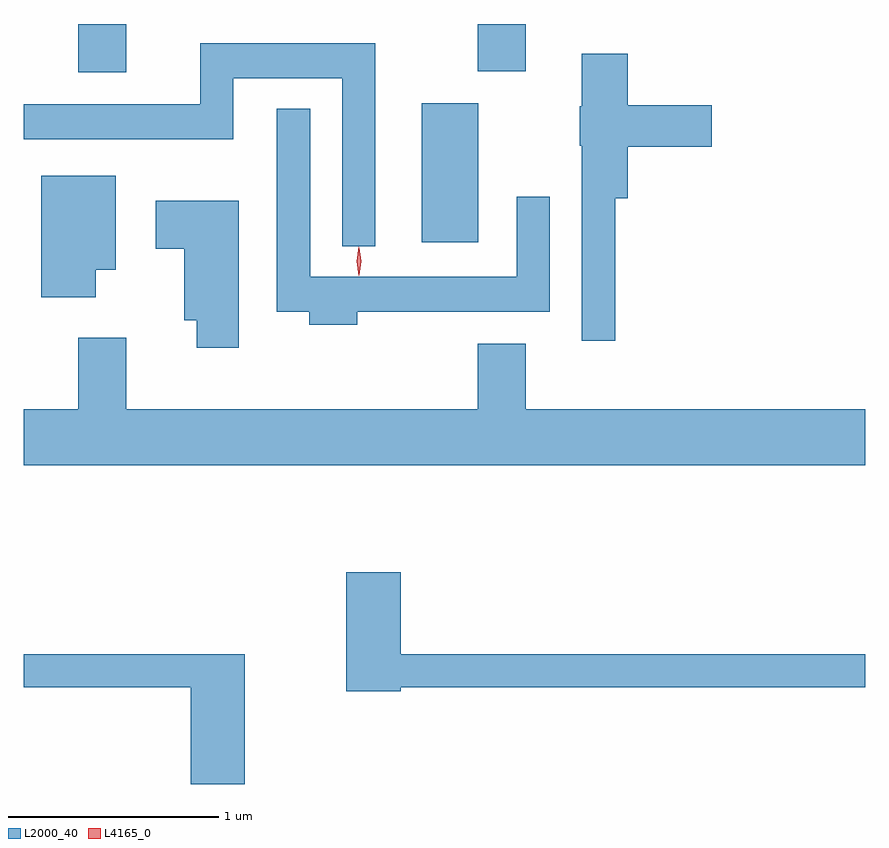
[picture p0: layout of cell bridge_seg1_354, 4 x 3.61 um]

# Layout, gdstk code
import gdstk
lib = gdstk.Library(unit=1e-6, precision=1e-09)
def R(c, l, rs):  # rectangles x0, y0, x1, y1
    for r in rs: c.add(gdstk.rectangle(r[:2], r[2:], *l))
def P(c, l, *ps):  # polygons
    for p in ps: c.add(gdstk.Polygon(p, *l))
L2000_40 = (2000, 40)
L4165_0 = (4165, 0)

bridge_seg1_354 = lib.new_cell('bridge_seg1_354')
R(bridge_seg1_354, L2000_40, [(937.866,873.996,938.134,874.659), (936.231,874.806,936.459,875.035), (938.131,874.811,938.359,875.035)])
P(bridge_seg1_354, L2000_40, [(937.644,874.944),(936.811,874.944),(936.811,874.654),(935.973,874.654),(935.973,874.486),(936.969,874.486),(936.969,874.776),(937.486,874.776),(937.486,873.978),(937.644,873.978)],
  [(938.784,874.206),(938.844,874.206),(938.844,874.451),(939.244,874.451),(939.244,874.649),(938.844,874.649),(938.844,874.894),(938.626,874.894),(938.626,874.645),(938.616,874.645),(938.616,874.455),(938.626,874.455),(938.626,873.528),(938.784,873.528)],
  [(937.559,873.666),(938.474,873.666),(938.474,874.213),(938.316,874.213),(938.316,873.834),(937.334,873.834),(937.334,874.633),(937.176,874.633),(937.176,873.666),(937.331,873.666),(937.331,873.606),(937.559,873.606)],
  [(936.314,873.866),(936.409,873.866),(936.409,874.314),(936.056,874.314),(936.056,873.736),(936.314,873.736)],
  [(936.994,874.194),(936.601,874.194),(936.601,873.966),(936.736,873.966),(936.736,873.626),(936.796,873.626),(936.796,873.496),(936.994,873.496)],
  [(939.973,873.204),(938.359,873.204),(938.359,873.514),(938.131,873.514),(938.131,873.204),(936.459,873.204),(936.459,873.544),(936.231,873.544),(936.231,873.204),(935.973,873.204),(935.973,872.936),(939.973,872.936)],
  [(937.764,871.881),(939.973,871.881),(939.973,872.039),(937.764,872.039),(937.764,872.429),(937.506,872.429),(937.506,871.861),(937.764,871.861)],
  [(937.024,872.039),(935.973,872.039),(935.973,871.881),(936.766,871.881),(936.766,871.421),(937.024,871.421)])
P(bridge_seg1_354, L4165_0, [(937.565,873.837),(937.565,873.837),(937.555,873.907),(937.565,873.976),(937.565,873.976),(937.566,873.976),(937.575,873.907),(937.566,873.837)],
  [(937.566,873.84),(937.566,873.84),(937.556,873.906),(937.566,873.972),(937.566,873.973),(937.567,873.972),(937.576,873.906),(937.567,873.84)])

lib.write_gds('bridge_seg1_354.gds')
